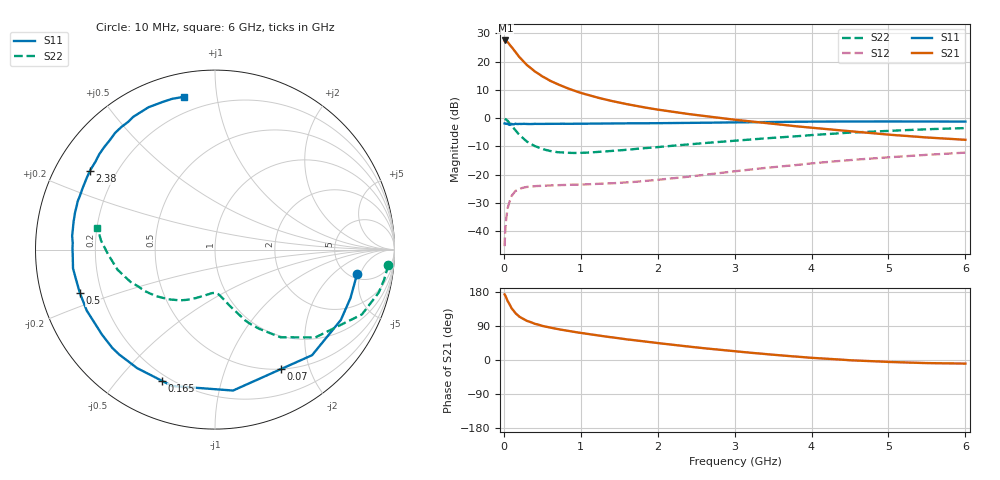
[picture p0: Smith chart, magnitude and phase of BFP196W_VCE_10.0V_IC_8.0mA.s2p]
! Infineon Technologies  Discrete & RF Semiconductors
! BFP196W
! VCE = 10.0V,  IC = 8.0mA
! Common Emitter S-Parameters:  Jan 2016
# GHz  S  MA  R  50
!  f  S11  S21  S12  S22
! GHz  MAG  ANG  MAG  ANG  MAG  ANG  MAG  ANG
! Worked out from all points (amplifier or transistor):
!   210 points, 10 MHz to 6 GHz, reference 50 ohm
!   highest |S21| = 27.5 dB at 20 MHz (marker M1)
!   |S21| within 3 dB of that: start of sweep to 120.3 MHz
!   unconditionally stable (mu >= 1): 1.319 GHz to 3.349 GHz
!   at 185 MHz: K = 0.18, MSG = 23.8 dB, |S12| = -25.3 dB
!   at 1.52 GHz: K = 1.09, MAG = 12.3 dB, |S12| = -22.9 dB
!   at 6 GHz: K = 0.94, MSG = 2.3 dB, |S12| = -12.2 dB
!   S11 on the Smith chart (normalised r, x): 10 MHz: 5.75, -4.39; 70 MHz: 0.50, -1.57; 165 MHz: 0.17, -0.66; 500 MHz: 0.12, -0.15; 2.38 GHz: 0.10, +0.28; 6 GHz: 0.12, +0.81
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0.01  0.8033 -9.7  23.56 173.1  0.0054 80.9  0.9693 -5.0
0.02  0.8017 -19.7  23.73 169.7  0.0112 78.7  0.9574 -10.0
0.03  0.8033 -29.2  23.31 164.9  0.016 75.7  0.9431 -14.7
0.05  0.7991 -47.4  22.22 155.2  0.0257 67.0  0.8948 -23.8
0.07  0.7603 -61.3  20.4 148.6  0.0318 58.3  0.8252 -30.0
0.1  0.7917 -82.7  18.3 136.6  0.0417 50.2  0.7429 -41.2
0.15  0.7966 -107.4  14.87 123.4  0.0511 39.7  0.61 -53.2
0.165  0.7883 -112.1  14.02 121.1  0.0524 37.6  0.5781 -55.2
0.2  0.7902 -123.3  12.13 114.5  0.0557 33.1  0.5069 -60.7
0.24  0.7915 -132.4  10.6 109.6  0.0581 29.7  0.4532 -65.0
0.3  0.7879 -143.1  8.708 103.2  0.0604 26.0  0.384 -69.9
0.4  0.7913 -154.6  6.747 95.7  0.0624 22.8  0.3211 -75.6
0.5  0.7907 -162.2  5.487 90.0  0.0633 21.3  0.2836 -79.7
0.7  0.7979 -172.5  3.986 81.5  0.0649 21.2  0.2493 -85.6
1.02  0.7946 176.8  2.747 70.8  0.0667 24.1  0.243 -93.9
1.4  0.8038 167.4  2.015 59.8  0.0701 29.3  0.2622 -102.6
2.02  0.8138 154.4  1.403 44.2  0.0813 39.0  0.3088 -116.3
2.38  0.8231 147.9  1.192 35.9  0.0912 43.1  0.341 -124.0
3.1  0.8432 135.4  0.907 21.2  0.1184 46.9  0.4084 -139.9
4.1  0.8691 120.4  0.659 4.6  0.1624 44.7  0.5104 -160.6
5.1  0.8728 109.1  0.499 -5.7  0.2066 38.3  0.6028 -178.8
6  0.8685 101.3  0.413 -9.5  0.245 31.9  0.6664 169.4
